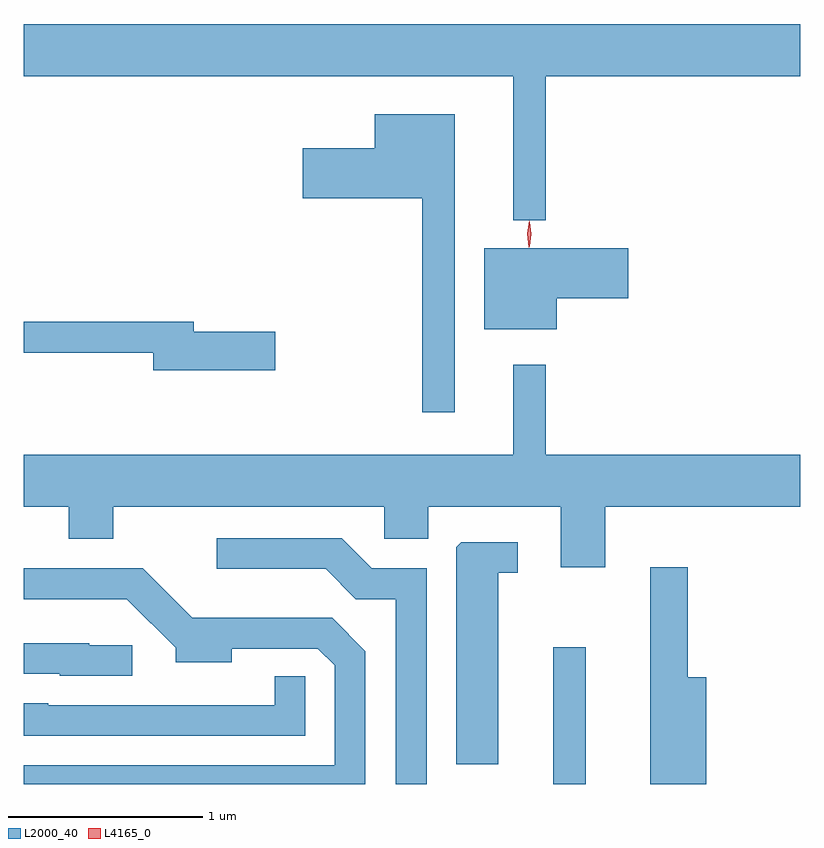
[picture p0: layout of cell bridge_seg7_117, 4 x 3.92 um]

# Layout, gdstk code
import gdstk
lib = gdstk.Library(unit=1e-6, precision=1e-09)
def R(c, l, rs):  # rectangles x0, y0, x1, y1
    for r in rs: c.add(gdstk.rectangle(r[:2], r[2:], *l))
def P(c, l, *ps):  # polygons
    for p in ps: c.add(gdstk.Polygon(p, *l))
L2000_40 = (2000, 40)
L4165_0 = (4165, 0)

bridge_seg7_117 = lib.new_cell('bridge_seg7_117')
R(bridge_seg7_117, L2000_40, [(1589.286,1746.188,1589.454,1746.893)])
P(bridge_seg7_117, L2000_40, [(1589.249,1749.836),(1590.559,1749.836),(1590.559,1750.104),(1586.559,1750.104),(1586.559,1749.836),(1589.081,1749.836),(1589.081,1749.093),(1589.249,1749.093)],
  [(1588.779,1749.639),(1588.366,1749.639),(1588.366,1749.464),(1587.996,1749.464),(1587.996,1749.206),(1588.611,1749.206),(1588.611,1748.103),(1588.779,1748.103)],
  [(1589.304,1748.691),(1589.674,1748.691),(1589.674,1748.949),(1588.931,1748.949),(1588.931,1748.531),(1589.304,1748.531)],
  [(1587.854,1748.519),(1587.434,1748.519),(1587.434,1748.569),(1586.559,1748.569),(1586.559,1748.411),(1587.226,1748.411),(1587.226,1748.321),(1587.854,1748.321)],
  [(1589.554,1747.616),(1590.559,1747.616),(1590.559,1747.884),(1589.249,1747.884),(1589.249,1748.348),(1589.081,1748.348),(1589.081,1747.884),(1586.559,1747.884),(1586.559,1747.616),(1586.791,1747.616),(1586.791,1747.451),(1587.019,1747.451),(1587.019,1747.616),(1588.416,1747.616),(1588.416,1747.451),(1588.644,1747.451),(1588.644,1747.616),(1589.326,1747.616),(1589.326,1747.306),(1589.554,1747.306)],
  [(1588.634,1747.299),(1588.352,1747.299),(1588.197,1747.454),(1587.553,1747.454),(1587.553,1747.296),(1588.114,1747.296),(1588.269,1747.141),(1588.476,1747.141),(1588.476,1746.188),(1588.634,1746.188)],
  [(1589.004,1747.276),(1589.103,1747.276),(1589.103,1747.434),(1588.812,1747.434),(1588.786,1747.409),(1588.786,1746.291),(1589.004,1746.291)],
  [(1590.074,1746.739),(1589.979,1746.739),(1589.979,1747.304),(1589.786,1747.304),(1589.786,1746.188),(1590.074,1746.188)],
  [(1588.319,1746.872),(1588.147,1747.044),(1587.427,1747.044),(1587.172,1747.299),(1586.559,1747.299),(1586.559,1747.141),(1587.089,1747.141),(1587.341,1746.889),(1587.341,1746.816),(1587.629,1746.816),(1587.629,1746.886),(1588.074,1746.886),(1588.161,1746.799),(1588.161,1746.284),(1586.559,1746.284),(1586.559,1746.188),(1588.319,1746.188)],
  [(1587.118,1746.904),(1586.895,1746.904),(1586.895,1746.914),(1586.559,1746.914),(1586.559,1746.756),(1586.745,1746.756),(1586.745,1746.746),(1587.118,1746.746)],
  [(1588.009,1746.743),(1587.851,1746.743),(1587.851,1746.594),(1586.685,1746.594),(1586.685,1746.604),(1586.559,1746.604),(1586.559,1746.436),(1588.009,1746.436)])
P(bridge_seg7_117, L4165_0, [(1589.164,1748.96),(1589.164,1748.96),(1589.154,1749.023),(1589.164,1749.086),(1589.164,1749.087),(1589.165,1749.086),(1589.174,1749.023),(1589.165,1748.96)],
  [(1589.161,1748.954),(1589.153,1749.022),(1589.163,1749.09),(1589.164,1749.09),(1589.164,1749.09),(1589.172,1749.022),(1589.162,1748.954),(1589.162,1748.954)])

lib.write_gds('bridge_seg7_117.gds')
